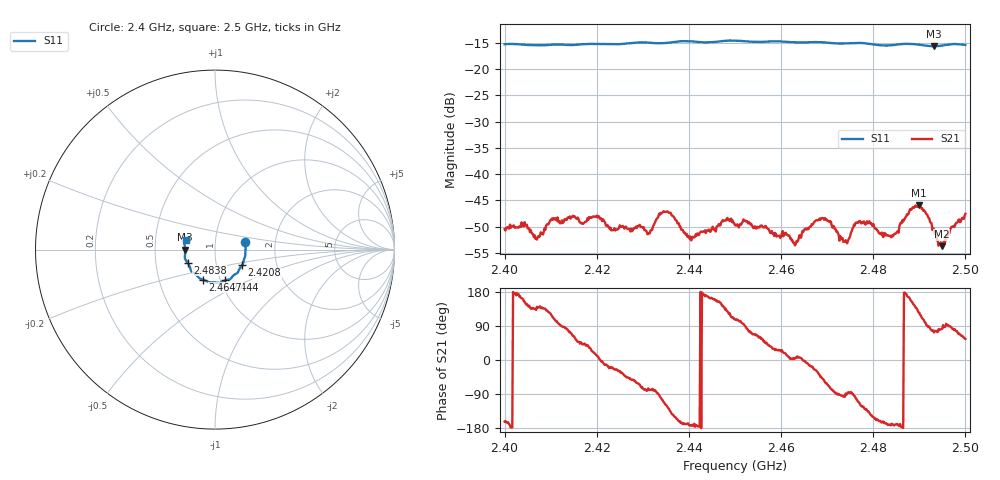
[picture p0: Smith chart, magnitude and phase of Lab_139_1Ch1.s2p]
# Hz S RI R 50
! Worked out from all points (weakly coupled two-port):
!   601 points, 2.4 GHz to 2.5 GHz, reference 50 ohm
!   highest |S21| = -45.93 dB at 2.4898 GHz (marker M1); lowest = -53.8 dB at 2.4948 GHz (marker M2)
!   lowest |S11| = -15.6 dB at 2.4932 GHz (marker M3), VSWR 1.40, Z = 35.8 - j0.0822 ohm
!   |S11| at or under -10 dB: start of sweep to end of sweep
!   S12 and S22 are empty: the file has one direction only
!   S11 on the Smith chart (normalised r, x): 2.4 GHz: 1.40, +0.12; 2.4208 GHz: 1.33, -0.24; 2.444 GHz: 1.06, -0.37; 2.4647 GHz: 0.83, -0.29; 2.4838 GHz: 0.73, -0.11; 2.5 GHz: 0.72, +0.08
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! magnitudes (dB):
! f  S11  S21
! 2.4 GHz  -15.2  -50.5
! 2.4072 GHz  -15.4  -52.0
! 2.4103 GHz  -15.3  -48.5
! 2.4167 GHz  -15.2  -49.4
! 2.4208 GHz  -15.2  -48.4
! 2.4312 GHz  -14.9  -51.4
! 2.4333 GHz  -15.0  -48.2
! 2.4357 GHz  -14.9  -47.4
! 2.4402 GHz  -14.7  -52.3
! 2.444 GHz  -14.9  -50.8
! 2.45 GHz  -14.5  -49.8
! 2.4647 GHz  -14.9  -50.8
! 2.4667 GHz  -14.8  -49.5
! 2.4697 GHz  -14.9  -48.7
! 2.474 GHz  -15.1  -52.6
! 2.4767 GHz  -15.0  -49.1
! 2.4833 GHz  -15.5  -51.8
! 2.4838 GHz  -15.4  -52.0
! 2.4898 GHz  -15.3  -45.9
! 2.4932 GHz  -15.6  -50.4
! 2.4948 GHz  -15.5  -53.8
! 2.5 GHz  -15.3  -47.6
